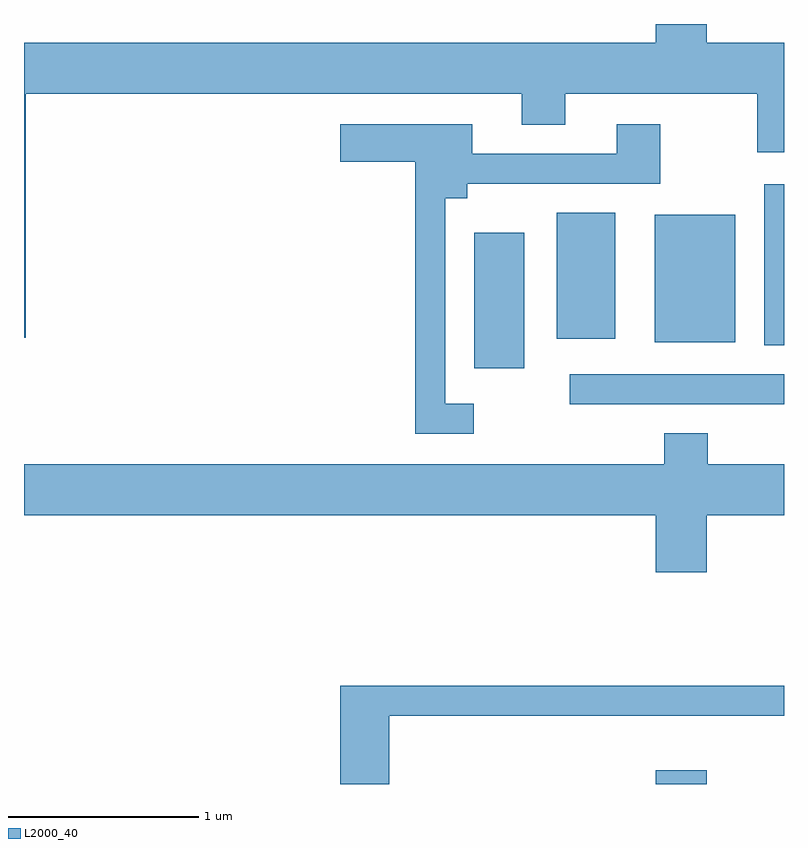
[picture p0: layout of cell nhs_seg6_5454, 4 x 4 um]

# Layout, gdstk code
import gdstk
lib = gdstk.Library(unit=1e-6, precision=1e-09)
def R(c, l, rs):  # rectangles x0, y0, x1, y1
    for r in rs: c.add(gdstk.rectangle(r[:2], r[2:], *l))
def P(c, l, *ps):  # polygons
    for p in ps: c.add(gdstk.Polygon(p, *l))
L2000_40 = (2000, 40)

nhs_seg6_5454 = lib.new_cell('nhs_seg6_5454')
R(nhs_seg6_5454, L2000_40, [(354.936,1564.162,355.204,1564.234), (354.483,1566.161,355.611,1566.319), (353.981,1566.351,354.244,1567.064), (355.506,1566.471,355.611,1567.319), (354.931,1566.486,355.354,1567.159), (354.416,1566.506,354.724,1567.169)])
P(nhs_seg6_5454, L2000_40, [(351.619,1567.796),(354.231,1567.796),(354.231,1567.631),(354.459,1567.631),(354.459,1567.796),(355.471,1567.796),(355.471,1567.486),(355.611,1567.486),(355.611,1568.064),(355.204,1568.064),(355.204,1568.162),(354.936,1568.162),(354.936,1568.064),(351.611,1568.064),(351.611,1566.511),(351.619,1566.511)],
  [(353.978,1566.164),(353.829,1566.164),(353.829,1567.246),(353.944,1567.246),(353.944,1567.321),(354.959,1567.321),(354.959,1567.634),(354.731,1567.634),(354.731,1567.479),(353.969,1567.479),(353.969,1567.634),(353.276,1567.634),(353.276,1567.436),(353.671,1567.436),(353.671,1566.006),(353.978,1566.006)],
  [(355.204,1565.576),(355.611,1565.576),(355.611,1565.844),(355.209,1565.844),(355.209,1566.009),(354.981,1566.009),(354.981,1565.844),(351.611,1565.844),(351.611,1565.576),(354.936,1565.576),(354.936,1565.276),(355.204,1565.276)],
  [(353.534,1564.521),(355.611,1564.521),(355.611,1564.679),(353.276,1564.679),(353.276,1564.162),(353.534,1564.162)])

lib.write_gds('nhs_seg6_5454.gds')
